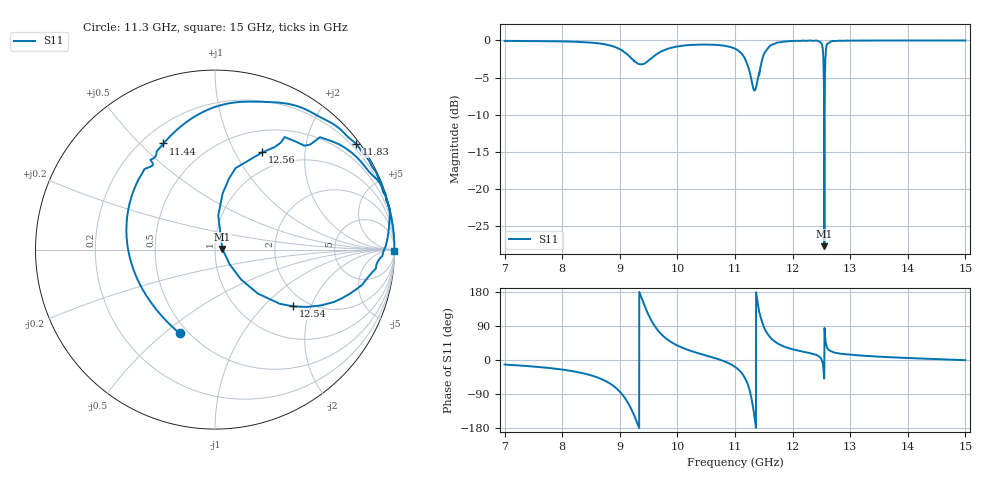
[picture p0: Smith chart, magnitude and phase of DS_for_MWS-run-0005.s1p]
! TOUCHSTONE file generated by CST DESIGN STUDIO
! Date and time: Mon Feb 10 16:57:11 2025
! Project name: C:\Work\MatlabApps\UnitCellType2OptimizationMatlab\CST\unitcell.cst
! Tree item: Tasks\Sweep1\SPara1\S-Parameters
! Header version: 2024
! Port assignment regex: !\s*Touchstone port\s*([0-9]+)\s*=\s*(CST MWS port|CST DES external port|CST DES block port)\s*(.+)\s* \(\"(.*)\"\)(\s*mode\s*([0-9]+))?.*
! Touchstone port assignment:
! Touchstone port 1 = CST DES external port 1 ("")
# GHz S MA R 50
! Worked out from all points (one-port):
!   4001 points, 7 GHz to 15 GHz, reference 50 ohm
!   lowest |S11| = -27.7 dB at 12.55 GHz (marker M1), VSWR 1.09, Z = 54.3 + j0.331 ohm
!   |S11| at or under -10 dB: 12.54636 GHz to 12.556 GHz (9.637 MHz wide, 0.0768 % of centre)
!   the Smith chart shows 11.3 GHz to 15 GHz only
!   S11 on the Smith chart (normalised r, x): 11.3 GHz: 0.45, -0.57; 11.44 GHz: 0.28, +0.59; 11.83 GHz: 0.09, +3.01; 12.54 GHz: 1.69, -1.50; 12.56 GHz: 0.76, +1.30; 15 GHz: open
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7  0.993 -12.0
8  0.9859 -25.3
8.634  0.9559 -47.3
9  0.8741 -83.5
9.176  0.775 -122.4
9.352  0.6913 173.9
9.59  0.7825 93.4
10  0.9111 38.2
10.53  0.9385 10.5
11  0.8806 -18.0
11.164  0.7654 -45.5
11.3  0.5065 -112.8
11.37  0.4932 174.3
11.44  0.6576 115.9
11.51  0.8206 84.0
11.616  0.9255 58.9
11.834  0.982 36.7
12  0.9896 28.2
12.472  0.9787 7.8
12.512  0.9332 -2.2
12.542  0.537 -36.1
12.552  0.04118 4.2
12.562  0.6023 64.1
12.6  0.9459 32.1
12.686  0.9917 21.8
13  0.9971 13.9
14  0.9989 5.3
15  0.9995 -0.5
